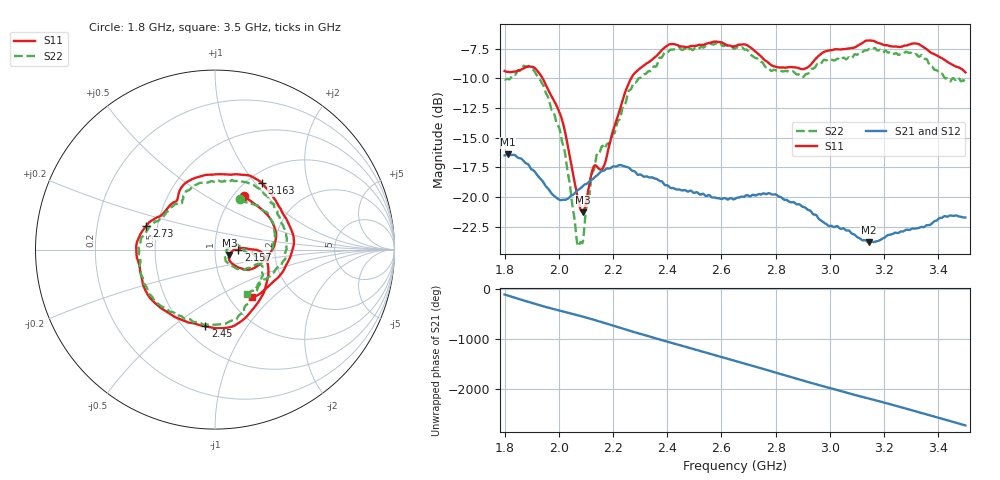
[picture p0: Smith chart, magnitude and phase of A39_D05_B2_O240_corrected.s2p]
! Created with skrf 1.9.0 (http://scikit-rf.org).
# Hz S RI R 50.0
!freq ReS11 ImS11 ReS21 ImS21 ReS12 ImS12 ReS22 ImS22
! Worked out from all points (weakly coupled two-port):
!   1601 points, 1.8 GHz to 3.5 GHz, reference 50 ohm
!   highest |S21| = -16.43 dB at 1.812 GHz (marker M1); lowest = -23.8 dB at 3.143 GHz (marker M2)
!   lowest |S11| = -21.3 dB at 2.089 GHz (marker M3), VSWR 1.19, Z = 58.7 - j3.59 ohm
!   |S11| at or under -10 dB: 1.94 GHz to 2.267 GHz (326.9 MHz wide, 15.5 % of centre)
!   |S22| runs from -24.2 to -7.1 dB; largest |S21 - S12| = 0.0028
!   S11 on the Smith chart (normalised r, x): 1.8 GHz: 1.12, +0.75; 2.157 GHz: 1.30, -0.00; 2.45 GHz: 0.63, -0.66; 2.73 GHz: 0.43, +0.14; 3.163 GHz: 1.17, +1.09; 3.5 GHz: 1.26, -0.75
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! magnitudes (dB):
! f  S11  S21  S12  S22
! 1.8 GHz  -9.4  -16.5  -16.5  -10.1
! 1.812 GHz  -9.5  -16.4  -16.4  -10.1
! 1.887 GHz  -9.0  -17.3  -17.3  -9.0
! 1.942 GHz  -10.1  -18.7  -18.7  -10.6
! 2.011 GHz  -13.5  -20.3  -20.2  -15.3
! 2.067 GHz  -19.8  -19.5  -19.5  -23.8
! 2.084 GHz  -21.2  -19.2  -19.2  -23.9
! 2.089 GHz  -21.3  -19.1  -19.1  -23.7
! 2.127 GHz  -17.5  -18.5  -18.4  -17.8
! 2.157 GHz  -17.7  -17.8  -17.8  -15.8
! 2.263 GHz  -10.2  -17.6  -17.6  -11.0
! 2.367 GHz  -7.9  -18.6  -18.5  -8.5
! 2.45 GHz  -7.3  -19.4  -19.4  -7.6
! 2.65 GHz  -7.3  -20.2  -20.1  -7.5
! 2.73 GHz  -7.8  -19.9  -19.9  -8.3
! 2.809 GHz  -9.1  -19.9  -19.9  -9.3
! 2.934 GHz  -8.7  -21.3  -21.3  -9.2
! 3.143 GHz  -6.8  -23.8  -23.7  -7.6
! 3.163 GHz  -6.9  -23.8  -23.8  -7.5
! 3.217 GHz  -7.3  -23.2  -23.2  -7.8
! 3.326 GHz  -7.1  -22.6  -22.6  -8.2
! 3.5 GHz  -9.5  -21.7  -21.7  -10.4
